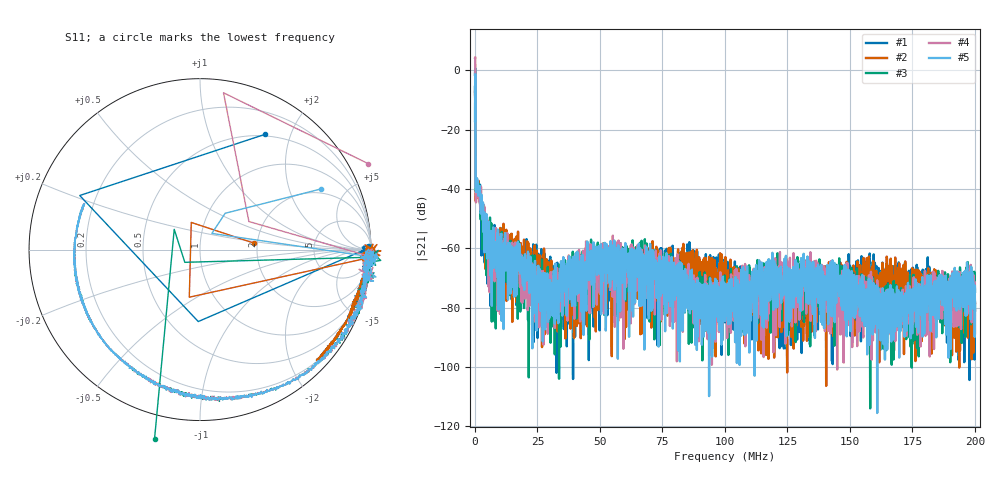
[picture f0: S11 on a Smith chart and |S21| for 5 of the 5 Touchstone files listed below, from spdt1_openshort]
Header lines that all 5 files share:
! CHANNEL.1
! TR.MEASUREMENT
! CORRECTED.DATA
# GHZ S RI R 50.0
! FREQ.GHZ  S11RE  S11IM  S21RE  S21IM  S12RE  S12IM  S22RE  S22IM
!; PortSelection: Port_12
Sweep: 50 kHz to 200 MHz
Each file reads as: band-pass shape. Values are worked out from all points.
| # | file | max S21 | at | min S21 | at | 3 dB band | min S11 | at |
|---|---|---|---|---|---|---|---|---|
| 1 | spdtopenrf1_0.s2p | 0.75 dB | 150 kHz | -104.4 dB | 197.8 MHz | 50 kHz-150 kHz | -7.5 dB | 250 kHz |
| 2 | spdtopenrf1_2.s2p | -7.20 dB | 50 kHz | -106.4 dB | 140.5 MHz | 50 kHz-150 kHz | -15.6 dB | 150 kHz |
| 3 | spdtshortrf2_0.s2p | -5.59 dB | 50 kHz | -114.0 dB | 158.1 MHz | 50 kHz-50 kHz | -18.7 dB | 250 kHz |
| 4 | spdtshortrf2_1.s2p | 4.41 dB | 150 kHz | -100.9 dB | 144.9 MHz | 50 kHz-150 kHz | -9.6 dB | 250 kHz |
| 5 | spdtshortrf2_2.s2p | -1.28 dB | 150 kHz | -115.5 dB | 160.9 MHz | 150 kHz-150 kHz | -18.6 dB | 250 kHz |
